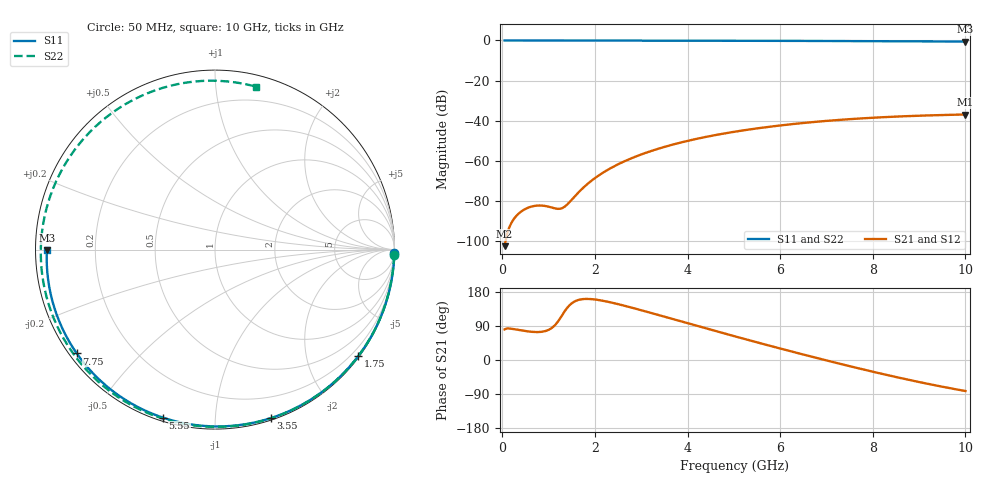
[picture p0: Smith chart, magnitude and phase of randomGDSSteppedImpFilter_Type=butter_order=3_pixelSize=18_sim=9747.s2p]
! freq	dB(S11)	phase(S11)	dB(S12)	phase(S12)
!  dB(S21)	phase(S21)	dB(S22)	phase(S22)
!S-par simulation data
#  GHz  S  DB  R 50
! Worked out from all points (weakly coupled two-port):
!   200 points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, 50 MHz to 10 GHz, reference 50 ohm
!   highest |S21| = -36.87 dB at 10 GHz (marker M1); lowest = -102.4 dB at 50 MHz (marker M2)
!   lowest |S11| = -0.6 dB at 10 GHz (marker M3), VSWR 30.68, Z = 1.63 - j0.0925 ohm
!   |S11| at or under -10 dB: nowhere
!   |S22| runs from -0.6 to 0.0 dB; largest |S21 - S12| = 0
!   S11 on the Smith chart (normalised r, x): 50 MHz: open; 1.75 GHz: 0.03, -3.03; 3.55 GHz: 0.02, -1.38; 5.55 GHz: 0.02, -0.74; 7.75 GHz: 0.02, -0.33; 10 GHz: 0.03, -0.00
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0.05  -0.00 -1.0  -102.42 80.7  -102.42 80.7  -0.01 -1.8
0.35  -0.01 -7.4  -86.27 79.4  -86.27 79.4  -0.02 -13.1
0.7  -0.02 -14.8  -82.37 73.9  -82.37 73.9  -0.03 -26.1
1.1  -0.03 -23.2  -83.39 87.6  -83.39 87.6  -0.05 -40.6
1.45  -0.04 -30.4  -80.55 144.3  -80.55 144.3  -0.07 -52.9
1.5  -0.04 -31.4  -79.29 149.7  -79.29 149.7  -0.07 -54.7
1.75  -0.05 -36.5  -73.29 160.8  -73.29 160.8  -0.08 -63.2
2.05  -0.05 -42.6  -67.72 158.9  -67.72 158.9  -0.09 -73.1
2.45  -0.06 -50.6  -62.24 148.9  -62.24 148.9  -0.10 -85.8
2.9  -0.08 -59.4  -57.63 134.7  -57.63 134.7  -0.12 -99.4
3.4  -0.09 -68.9  -53.69 117.8  -53.69 117.8  -0.13 -113.8
3.55  -0.10 -71.7  -52.68 112.6  -52.68 112.6  -0.14 -118.0
4.3  -0.12 -85.4  -48.48 86.8  -48.48 86.8  -0.17 -138.0
5.05  -0.15 -98.6  -45.32 61.5  -45.32 61.5  -0.21 -156.9
5.55  -0.17 -107.2  -43.63 45.0  -43.63 45.0  -0.23 -169.1
6.1  -0.20 -116.3  -42.06 27.1  -42.06 27.1  -0.27 177.6
6.7  -0.24 -126.2  -40.65 8.2  -40.65 8.2  -0.31 163.0
7.2  -0.28 -134.3  -39.69 -7.2  -39.69 -7.2  -0.34 150.7
7.75  -0.32 -143.1  -38.81 -23.6  -38.81 -23.6  -0.38 137.0
8.35  -0.38 -152.7  -38.07 -40.8  -38.07 -40.8  -0.43 121.5
9.2  -0.47 -166.5  -37.32 -63.2  -37.32 -63.2  -0.50 98.5
10  -0.57 -179.8  -36.87 -81.8  -36.87 -81.8  -0.57 75.8
